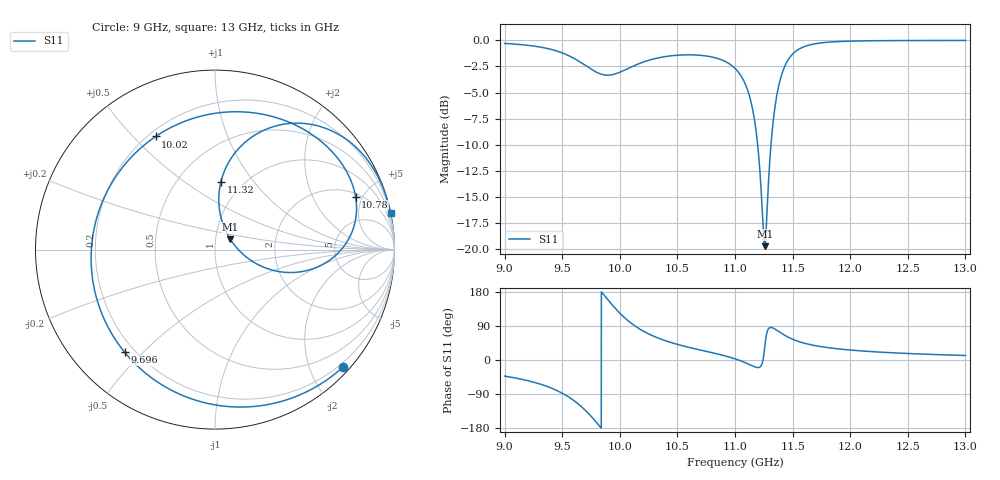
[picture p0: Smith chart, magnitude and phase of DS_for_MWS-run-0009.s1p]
! TOUCHSTONE file generated by CST DESIGN STUDIO
! Date and time: Tue Feb  4 16:44:51 2025
! Project name: C:\Work\MatlabApps\UnitCellOptimizationMatlab\CST\unitcell.cst
! Tree item: Tasks\Sweep1\SPara1\S-Parameters
! Header version: 2024
! Port assignment regex: !\s*Touchstone port\s*([0-9]+)\s*=\s*(CST MWS port|CST DES external port|CST DES block port)\s*(.+)\s* \(\"(.*)\"\)(\s*mode\s*([0-9]+))?.*
! Touchstone port assignment:
! Touchstone port 1 = CST DES external port 1 ("")
# GHz S MA R 50
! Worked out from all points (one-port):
!   4001 points, 9 GHz to 13 GHz, reference 50 ohm
!   lowest |S11| = -19.7 dB at 11.26 GHz (marker M1), VSWR 1.23, Z = 59 + j6.75 ohm
!   |S11| at or under -10 dB: 11.2 GHz to 11.31 GHz (115.7 MHz wide, 1.03 % of centre)
!   S11 on the Smith chart (normalised r, x): 9 GHz: 0.13, -2.56; 9.696 GHz: 0.16, -0.44; 10.02 GHz: 0.23, +0.58; 10.78 GHz: 2.27, +4.42; 11.32 GHz: 0.80, +0.70; 13 GHz: 0.02, +9.63
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9  0.9675 -42.6
9.277  0.9355 -60.6
9.5  0.8714 -87.6
9.604  0.8192 -107.6
9.696  0.7619 -131.3
9.775  0.7147 -156.7
9.844  0.6877 178.4
9.914  0.6826 152.5
10  0.7039 123.7
10.02  0.7117 117.7
10.101  0.7465 96.6
10.195  0.7844 77.8
10.338  0.8259 57.3
10.5  0.8493 41.2
10.783  0.8365 20.5
11  0.7346 3.1
11.085  0.6252 -6.5
11.159  0.449 -16.5
11.199  0.3067 -20.0
11.244  0.127 1.5
11.258  0.1031 33.3
11.325  0.3783 85.0
11.404  0.6825 70.3
11.5  0.8599 54.8
11.689  0.9624 38.3
12  0.9921 26.3
12.5  0.9987 17.2
13  0.9997 11.9
